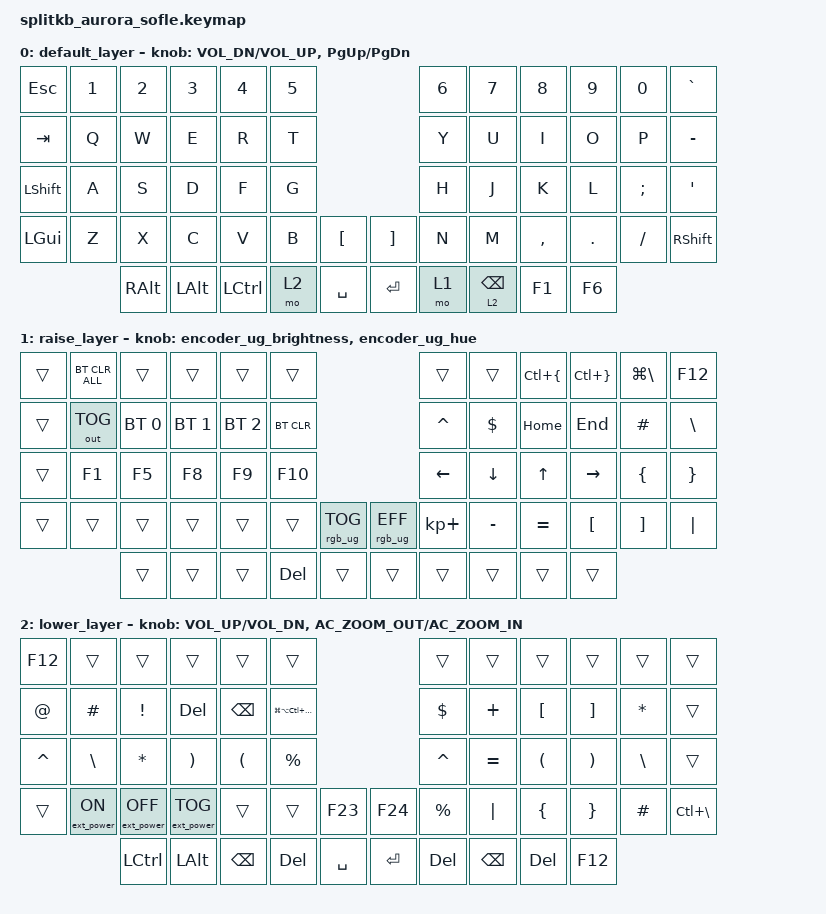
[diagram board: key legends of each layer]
/*
 * Copyright (c) 2023 The ZMK Contributors
 *
 * SPDX-License-Identifier: MIT
 */

#include <behaviors.dtsi>
#include <dt-bindings/zmk/keys.h>
#include <dt-bindings/zmk/bt.h>
#include <dt-bindings/zmk/ext_power.h>
#include <dt-bindings/zmk/outputs.h>
#include <dt-bindings/zmk/rgb.h>

&led_strip {
    // chain-length = <6>; // Assuming 6 LEDs per side for underglow
    chain-length = <35>; // Uncomment if using both per-key and underglow LEDs
    // chain-length = <29>; // Uncomment if using only per-key LEDs.
};

&lt {
    flavor = "tap-preferred";
    tapping-term-ms = <200>;
    quick-tap-ms = <175>;
    require-prior-idle-ms = <125>;
};

/ {
    behaviors {
        encoder_ug_brightness: encoder_ug_brightness {
            compatible = "zmk,behavior-sensor-rotate";
            #sensor-binding-cells = <0>;
            bindings = <&rgb_ug RGB_BRI>, <&rgb_ug RGB_BRD>;
        };
        encoder_ug_hue: encoder_ug_hue {
            compatible = "zmk,behavior-sensor-rotate";
            #sensor-binding-cells = <0>;
            bindings = <&rgb_ug RGB_HUI>, <&rgb_ug RGB_HUD>;
        };
    };
    
    keymap {
        compatible = "zmk,keymap";

        default_layer {
// ------------------------------------------------------------------------------------------------------------
// |  ESC  |  1  |  2  |  3   |  4   |  5   |                   |  6   |  7    |  8    |  9   |   0   |   `   |
// |  TAB  |  Q  |  W  |  E   |  R   |  T   |                   |  Y   |  U    |  I    |  O   |   P   |   -   |
// | SHIFT |  A  |  S  |  D   |  F   |  G   |                   |  H   |  J    |  K    |  L   |   ;   |   '   |
// | CTRL  |  Z  |  X  |  C   |  V   |  B   |   "["  |  |  "]"  |  N   |  M    |  ,    |  .   |   /   | SHIFT |
//               |SHIFT| ALT  | GUI  | LOWER|  SPACE |  | ENTER | RAISE| BSPC  | SHIFT | RALT |
            bindings = <
&kp ESC   &kp N1 &kp N2   &kp N3   &kp N4    &kp N5                    &kp N6 &kp N7     &kp N8    &kp N9   &kp N0   &kp GRAVE
&kp TAB   &kp Q  &kp W    &kp E    &kp R     &kp T                     &kp Y  &kp U      &kp I     &kp O    &kp P    &kp MINUS
&kp LSHFT &kp A  &kp S    &kp D    &kp F     &kp G                     &kp H  &kp J      &kp K     &kp L    &kp SEMI &kp SQT
&kp LGUI  &kp Z  &kp X    &kp C    &kp V     &kp B &kp LBKT   &kp RBKT &kp N  &kp M      &kp COMMA &kp DOT  &kp FSLH &kp RSHFT
                 &kp RALT &kp LALT &kp LCTRL &mo 2 &kp SPACE  &kp RET  &mo 1  &lt 2 BSPC &kp F1 &kp F6 
            >;

            sensor-bindings = <&inc_dec_kp C_VOL_DN C_VOL_UP &inc_dec_kp PG_UP PG_DN>;
        };

        raise_layer {
          // LEFT SIDE
// ---------------------------------------------------------------------------------------------------------------------
// | GUI+TAB|GUI+S+TAB|  2  |  3   |  4   |  5   |                   |      |       | CTRL-[ | CTRL-] | GUI+\ | F12 |
// |  TAB   |  Q      |  W  | KP7  | KP8  | KP9  |                   |  ^   |   $   |  HOME  |  END |  #    |  \  |
// | SHIFT  |  A      |  S  | KP4  | KP5  | KP6  |                   |  <-  |   v   |  ^     |  ->  |  (    |  )  |
// | SHIFT  |  Z      |  X  | KP1  | KP2  | KP3  |RGB_TOG |  |RGB_EFF|  +   |   -   |   =    |  [   |  ]    | C-\ |
//                    |CTRL |      |      | DEL  |        |  |       |      |       |        |      |
            bindings = <
&trans &bt BT_CLR_ALL &trans       &trans       &trans       &trans                                  &trans      &trans     &kp LC(LBRC) &kp LC(RBRC) &kp LG(BSLH) &kp F12
&trans &out OUT_TOG   &bt BT_SEL 0 &bt BT_SEL 1 &bt BT_SEL 2 &bt BT_CLR                              &kp CARET   &kp DOLLAR &kp HOME     &kp END      &kp HASH     &kp BSLH
&trans &kp F1         &kp F5       &kp F8       &kp F9       &kp F10                                 &kp LEFT    &kp DOWN   &kp UP       &kp RIGHT    &kp LBRC     &kp RBRC
&trans &trans         &trans       &trans       &trans       &trans  &rgb_ug RGB_TOG &rgb_ug RGB_EFF &kp KP_PLUS &kp MINUS  &kp EQUAL    &kp LBKT     &kp RBKT     &kp PIPE
                      &trans       &trans       &trans       &kp DEL &trans          &trans          &trans      &trans     &trans       &trans
            >;

            sensor-bindings = <&encoder_ug_brightness &encoder_ug_hue>;
        };

        lower_layer {
          // LEFT SIDE
// ------------------------------------------------------------------------------------------------------------------
// | BTCLR | BT1  | BT2   |  BT3  |  BT4  |  BT5      |               |  6   |   7   |   8   |  9   |   0 |    `   |
// |   [   |  ]   |  !    |  @    |  #    |G+A+C+S+F6 |               |  $   |   +   |   [   |  ]   |   * |        |
// |   ^   |  \   |  *    |  (    |  )    |  %        |               |  ^   |   =   |   (   |  )   |   \ |        |
// | CTRL  |EP_ON |EP_OFF |EP_TOG |       |           |  F23  |  F24  |  %   |   |   |   {   |  }   |   # | C+BSLH |
//                | SHIFT | ALT   | GUI   | LOWER     | SPACE | ENTER | DEL  |  BSPC |  DEL  | RALT |
            bindings = <
&kp F12   &trans           &trans            &trans            &trans   &trans                       &trans     &trans    &trans    &trans    &trans     &trans
&kp AT    &kp HASH         &kp EXCL          &kp DEL           &kp BSPC &kp LG(LA(LC(LS(F6))))       &kp DLLR   &kp PLUS  &kp LBKT  &kp RBKT  &kp STAR   &trans
&kp CARET &kp BSLH         &kp STAR          &kp RPAR          &kp LPAR &kp PRCNT                    &kp CARET  &kp EQUAL &kp LPAR  &kp RPAR  &kp BSLH   &trans
&trans    &ext_power EP_ON &ext_power EP_OFF &ext_power EP_TOG &trans   &trans   &kp F23     &kp F24 &kp PRCNT  &kp PIPE  &kp LBRC  &kp RBRC  &kp HASH   &kp LC(BSLH)
                           &kp LCTRL         &kp LALT          &kp BSPC &kp DEL  &kp SPACE   &kp RET &kp DELETE &kp BSPC  &kp DEL   &kp F12
            >;

            sensor-bindings = <&inc_dec_kp C_VOL_UP C_VOL_DN &inc_dec_kp C_AC_ZOOM_OUT C_AC_ZOOM_IN>;
        };
//         lower_layer {
//           // LEFT SIDE
// // ------------------------------------------------------------------------------------------------------------
// // | BTCLR | BT1 | BT2  |  BT3 |  BT4 |  BT5 |                   |      |       |   |   |      |  UNDO | REDO  |
// // |   [   |  ]  |  !   |  @   |  #   |G+A+C+S+F6|               |  [   |   ]   |   !   |  @   |   #   |       |
// // |   ^   |  \  |  *   |  (   |  )   |  %   |                   |  ^   |   \   |   *   |  (   |   )   |       |
// // | CTRL  |EP_ON|EP_OFF|EP_TOG|     |      |  F23   |  |  F24  |  $   |   {   |   }   |  |   |   ~   |G+A+C+S+NUBS|
// //               |SHIFT | ALT  | GUI |LOWER | SPACE  |  | ENTER | DEL  |  BSPC |  DEL  | RALT |
//             bindings = <
// &bt BT_CLR &bt BT_SEL 0     &bt BT_SEL 1      &bt BT_SEL 2      &bt BT_SEL 3 &bt BT_SEL 4                   &trans     &trans    &kp PIPE  &trans    &kp K_UNDO &kp K_REDO
// &kp AT     &kp HASH         &kp EXCL          &kp LBRC          &kp RBRC     &kp LG(LA(LC(LS(F6))))         &kp LBKT   &kp RBKT  &kp EXCL  &kp AT    &kp HASH   &trans
// &kp CARET  &kp BSLH         &kp STAR          &kp LPAR          &kp RPAR     &kp PRCNT                      &kp CARET  &kp BSLH  &kp STAR  &kp LPAR  &kp RPAR   &trans
// &kp LCTRL  &ext_power EP_ON &ext_power EP_OFF &ext_power EP_TOG &trans       &trans       &kp F23   &kp F24 &kp DOLLAR &kp LBRC  &kp RBRC  &kp PIPE  &kp TILDE  &kp LG(LA(LC(LS(NUBS))))
//                             &kp LSHFT         &kp LALT          &kp LGUI     &mo 1        &kp SPACE &kp RET &kp DELETE &kp BSPC  &kp DEL   &kp RALT
//             >;
//
//             sensor-bindings = <&inc_dec_kp C_VOL_UP C_VOL_DN &inc_dec_kp C_AC_ZOOM_OUT C_AC_ZOOM_IN>;
//         };
    };
};
